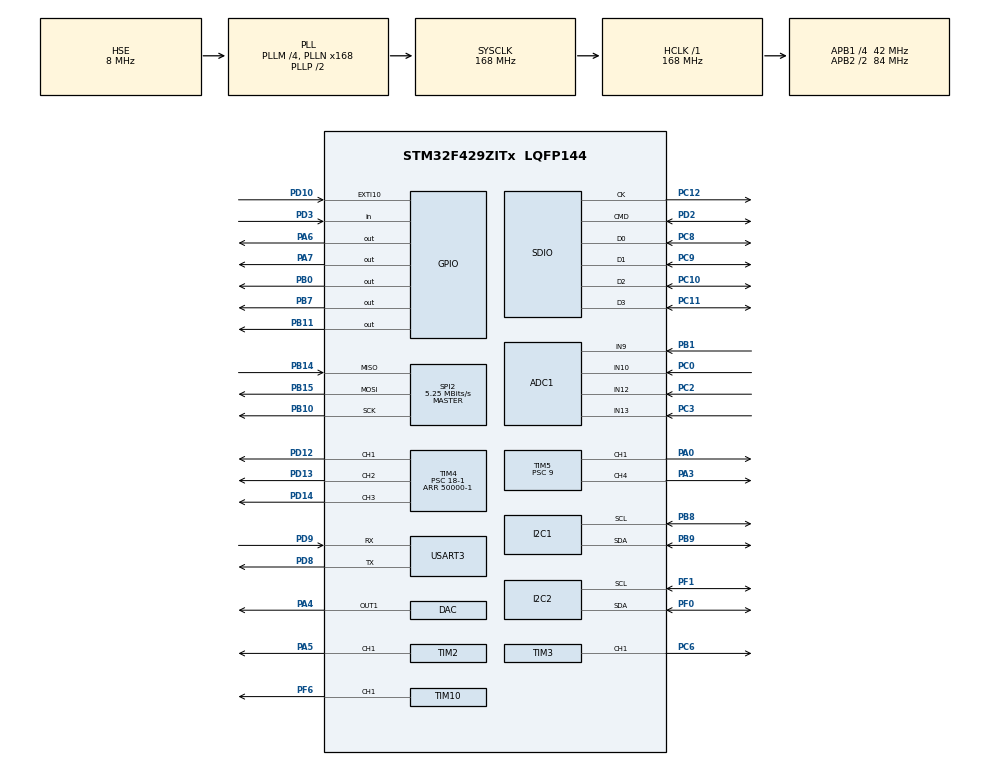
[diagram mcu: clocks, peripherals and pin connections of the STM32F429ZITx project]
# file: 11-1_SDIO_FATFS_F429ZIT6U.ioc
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ADC1.Channel-0\#ChannelRegularConversion=ADC_CHANNEL_10
ADC1.Channel-1\#ChannelRegularConversion=ADC_CHANNEL_12
ADC1.Channel-2\#ChannelRegularConversion=ADC_CHANNEL_13
ADC1.Channel-3\#ChannelRegularConversion=ADC_CHANNEL_9
ADC1.ContinuousConvMode=ENABLE
ADC1.DMAContinuousRequests=ENABLE
ADC1.DataAlign=ADC_DATAALIGN_RIGHT
ADC1.EOCSelection=ADC_EOC_SINGLE_CONV
ADC1.EnableAnalogWatchDog=false
ADC1.InjNumberOfConversion=0
ADC1.NbrOfConversion=4
ADC1.NbrOfConversionFlag=1
ADC1.Rank-0\#ChannelRegularConversion=1
ADC1.Rank-1\#ChannelRegularConversion=2
ADC1.Rank-2\#ChannelRegularConversion=3
ADC1.Rank-3\#ChannelRegularConversion=4
ADC1.SamplingTime-0\#ChannelRegularConversion=ADC_SAMPLETIME_84CYCLES
ADC1.SamplingTime-1\#ChannelRegularConversion=ADC_SAMPLETIME_84CYCLES
ADC1.SamplingTime-2\#ChannelRegularConversion=ADC_SAMPLETIME_84CYCLES
ADC1.SamplingTime-3\#ChannelRegularConversion=ADC_SAMPLETIME_84CYCLES
ADC1.ScanConvMode=ENABLE
ADC1.master=1
Dma.ADC1.0.Direction=DMA_PERIPH_TO_MEMORY
Dma.ADC1.0.FIFOMode=DMA_FIFOMODE_DISABLE
Dma.ADC1.0.Instance=DMA2_Stream0
Dma.ADC1.0.MemDataAlignment=DMA_MDATAALIGN_HALFWORD
Dma.ADC1.0.MemInc=DMA_MINC_ENABLE
Dma.ADC1.0.Mode=DMA_CIRCULAR
Dma.ADC1.0.PeriphDataAlignment=DMA_PDATAALIGN_HALFWORD
Dma.ADC1.0.PeriphInc=DMA_PINC_DISABLE
Dma.ADC1.0.Priority=DMA_PRIORITY_LOW
Dma.Request0=ADC1
Dma.Request1=SDIO_TX
Dma.Request2=SDIO_RX
Dma.SDIO_RX.2.Direction=DMA_PERIPH_TO_MEMORY
Dma.SDIO_RX.2.FIFOMode=DMA_FIFOMODE_ENABLE
Dma.SDIO_RX.2.FIFOThreshold=DMA_FIFO_THRESHOLD_FULL
Dma.SDIO_RX.2.Instance=DMA2_Stream6
Dma.SDIO_RX.2.MemBurst=DMA_MBURST_INC4
Dma.SDIO_RX.2.MemDataAlignment=DMA_MDATAALIGN_WORD
Dma.SDIO_RX.2.MemInc=DMA_MINC_ENABLE
Dma.SDIO_RX.2.Mode=DMA_PFCTRL
Dma.SDIO_RX.2.PeriphBurst=DMA_PBURST_INC4
Dma.SDIO_RX.2.PeriphDataAlignment=DMA_PDATAALIGN_WORD
Dma.SDIO_RX.2.PeriphInc=DMA_PINC_DISABLE
Dma.SDIO_RX.2.Priority=DMA_PRIORITY_LOW
Dma.SDIO_TX.1.Direction=DMA_MEMORY_TO_PERIPH
Dma.SDIO_TX.1.FIFOMode=DMA_FIFOMODE_ENABLE
Dma.SDIO_TX.1.FIFOThreshold=DMA_FIFO_THRESHOLD_FULL
Dma.SDIO_TX.1.Instance=DMA2_Stream3
Dma.SDIO_TX.1.MemBurst=DMA_MBURST_INC4
Dma.SDIO_TX.1.MemDataAlignment=DMA_MDATAALIGN_WORD
Dma.SDIO_TX.1.MemInc=DMA_MINC_ENABLE
Dma.SDIO_TX.1.Mode=DMA_PFCTRL
Dma.SDIO_TX.1.PeriphBurst=DMA_PBURST_INC4
Dma.SDIO_TX.1.PeriphDataAlignment=DMA_PDATAALIGN_WORD
Dma.SDIO_TX.1.PeriphInc=DMA_PINC_DISABLE
Dma.SDIO_TX.1.Priority=DMA_PRIORITY_LOW
FATFS.BSP.number=1
FATFS.USE_DMA_CODE_SD=1
FATFS._USE_LFN=1
FATFS0.BSP.STBoard=false
FATFS0.BSP.api=Unknown
FATFS0.BSP.i2caddr=0
FATFS0.BSP.instance=PD3
FATFS0.BSP.ip=GPIO
FATFS0.BSP.mode=Input
FATFS0.BSP.name=Detect_SDIO
FATFS0.BSP.solution=PD3
I2C1.I2C_Mode=I2C_Fast
Mcu.Family=STM32F4
Mcu.Name=STM32F429ZITx
Mcu.Package=LQFP144
NVIC.DMA2_Stream0_IRQn=true\:0\:0\:false\:false\:true\:false\:true
NVIC.DMA2_Stream3_IRQn=true\:0\:0\:false\:false\:true\:false\:true
NVIC.DMA2_Stream6_IRQn=true\:0\:0\:false\:false\:true\:false\:true
NVIC.EXTI15_10_IRQn=true\:0\:0\:false\:false\:true\:true\:true
NVIC.PriorityGroup=NVIC_PRIORITYGROUP_4
NVIC.SDIO_IRQn=true\:0\:0\:false\:false\:true\:true\:true
NVIC.TIM4_IRQn=true\:0\:0\:false\:false\:true\:true\:true
NVIC.TIM7_IRQn=true\:0\:0\:false\:false\:true\:true\:true
NVIC.USART3_IRQn=true\:0\:0\:false\:false\:true\:true\:true
PA0/WKUP.Signal=S_TIM5_CH1
PA3.Signal=S_TIM5_CH4
PA4.Signal=COMP_DAC1_group
PA5.Signal=S_TIM2_CH1_ETR
PA6.Signal=GPIO_Output
PA7.Signal=GPIO_Output
PB0.Signal=GPIO_Output
PB1.Signal=ADCx_IN9
PB10.Mode=Full_Duplex_Master
PB10.Signal=SPI2_SCK
PB11.Signal=GPIO_Output
PB14.Mode=Full_Duplex_Master
PB14.Signal=SPI2_MISO
PB15.Mode=Full_Duplex_Master
PB15.Signal=SPI2_MOSI
PB7.Signal=GPIO_Output
PB8.Mode=I2C
PB8.Signal=I2C1_SCL
PB9.Mode=I2C
PB9.Signal=I2C1_SDA
PC0.Signal=ADCx_IN10
PC10.Mode=SD_4_bits_Wide_bus
PC10.Signal=SDIO_D2
PC11.Mode=SD_4_bits_Wide_bus
PC11.Signal=SDIO_D3
PC12.Mode=SD_4_bits_Wide_bus
PC12.Signal=SDIO_CK
PC2.Signal=ADCx_IN12
PC3.Signal=ADCx_IN13
PC6.Signal=S_TIM3_CH1
PC8.Mode=SD_4_bits_Wide_bus
PC8.Signal=SDIO_D0
PC9.Mode=SD_4_bits_Wide_bus
PC9.Signal=SDIO_D1
PD10.GPIO_PuPd=GPIO_PULLDOWN
PD10.Signal=GPXTI10
PD12.Signal=S_TIM4_CH1
PD13.Signal=S_TIM4_CH2
PD14.Signal=S_TIM4_CH3
PD2.Mode=SD_4_bits_Wide_bus
PD2.Signal=SDIO_CMD
PD3.Signal=GPIO_Input
PD8.Mode=Asynchronous
PD8.Signal=USART3_TX
PD9.Mode=Asynchronous
PD9.Signal=USART3_RX
PF0.Mode=I2C
PF0.Signal=I2C2_SDA
PF1.Mode=I2C
PF1.Signal=I2C2_SCL
PF6.Signal=S_TIM10_CH1
PH0/OSC_IN.Mode=HSE-External-Oscillator
PH0/OSC_IN.Signal=RCC_OSC_IN
PH1/OSC_OUT.Mode=HSE-External-Oscillator
PH1/OSC_OUT.Signal=RCC_OSC_OUT
ProjectManager.HeapSize=0x200
ProjectManager.StackSize=0x400
ProjectManager.TargetToolchain=STM32CubeIDE
RCC.48MHZClocksFreq_Value=48000000
RCC.AHBFreq_Value=168000000
RCC.APB1CLKDivider=RCC_HCLK_DIV4
RCC.APB1Freq_Value=42000000
RCC.APB1TimFreq_Value=84000000
RCC.APB2CLKDivider=RCC_HCLK_DIV2
RCC.APB2Freq_Value=84000000
RCC.APB2TimFreq_Value=168000000
RCC.CortexFreq_Value=168000000
RCC.HCLKFreq_Value=168000000
RCC.HSE_VALUE=8000000
RCC.HSI_VALUE=16000000
RCC.LSE_VALUE=32768
RCC.PLLM=4
RCC.PLLN=168
RCC.PLLQ=7
RCC.PLLSourceVirtual=RCC_PLLSOURCE_HSE
RCC.SYSCLKFreq_VALUE=168000000
RCC.SYSCLKSource=RCC_SYSCLKSOURCE_PLLCLK
RCC.VCOOutputFreq_Value=336000000
SH.ADCx_IN10.0=ADC1_IN10,IN10
SH.ADCx_IN12.0=ADC1_IN12,IN12
SH.ADCx_IN13.0=ADC1_IN13,IN13
SH.ADCx_IN9.0=ADC1_IN9,IN9
SH.COMP_DAC1_group.0=DAC_OUT1,DAC_OUT1
SH.S_TIM10_CH1.0=TIM10_CH1,PWM Generation1 CH1
SH.S_TIM2_CH1_ETR.0=TIM2_CH1,PWM Generation1 CH1
SH.S_TIM3_CH1.0=TIM3_CH1,PWM Generation1 CH1
SH.S_TIM4_CH1.0=TIM4_CH1,PWM Generation1 CH1
SH.S_TIM4_CH2.0=TIM4_CH2,PWM Generation2 CH2
SH.S_TIM4_CH3.0=TIM4_CH3,PWM Generation3 CH3
SH.S_TIM5_CH1.0=TIM5_CH1,PWM Generation1 CH1
SH.S_TIM5_CH4.0=TIM5_CH4,PWM Generation4 CH4
SPI2.BaudRatePrescaler=SPI_BAUDRATEPRESCALER_8
SPI2.CLKPhase=SPI_PHASE_2EDGE
SPI2.CLKPolarity=SPI_POLARITY_HIGH
SPI2.CalculateBaudRate=5.25 MBits/s
SPI2.Direction=SPI_DIRECTION_2LINES
SPI2.Mode=SPI_MODE_MASTER
SPI2.VirtualType=VM_MASTER
TIM10.Channel=TIM_CHANNEL_1
TIM10.Period=50000-1
TIM10.Prescaler=72-1
TIM10.Pulse=500
TIM2.Channel-PWM\ Generation1\ CH1=TIM_CHANNEL_1
TIM2.Period=1000-1
TIM2.Prescaler=180-1
TIM2.Pulse-PWM\ Generation1\ CH1=500
TIM3.Channel-PWM\ Generation1\ CH1=TIM_CHANNEL_1
TIM3.Period=50000-1
TIM3.Prescaler=9-1
TIM4.Channel-PWM\ Generation1\ CH1=TIM_CHANNEL_1
TIM4.Channel-PWM\ Generation2\ CH2=TIM_CHANNEL_2
TIM4.Channel-PWM\ Generation3\ CH3=TIM_CHANNEL_3
TIM4.Period=50000-1
TIM4.Prescaler=18-1
TIM4.Pulse-PWM\ Generation1\ CH1=25000-1
TIM4.Pulse-PWM\ Generation2\ CH2=12500-1
TIM4.Pulse-PWM\ Generation3\ CH3=7250-1
TIM5.Channel-PWM\ Generation1\ CH1=TIM_CHANNEL_1
TIM5.Channel-PWM\ Generation4\ CH4=TIM_CHANNEL_4
TIM5.Period=100000-1
TIM5.Prescaler=9
TIM7.AutoReloadPreload=TIM_AUTORELOAD_PRELOAD_ENABLE
TIM7.Period=9999
TIM7.Prescaler=8
USART3.VirtualMode=VM_ASYNC
VP_FATFS_VS_SDIO.Mode=SDIO
VP_TIM10_VS_ClockSourceINT.Mode=Enable_Timer
VP_TIM2_VS_ClockSourceINT.Mode=Internal
VP_TIM3_VS_ClockSourceINT.Mode=Internal
VP_TIM4_VS_ClockSourceINT.Mode=Internal
VP_TIM5_VS_ClockSourceINT.Mode=Internal
VP_TIM7_VS_ClockSourceINT.Mode=Enable_Timer
board=custom

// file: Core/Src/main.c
/* USER CODE BEGIN Header */
/**
  ******************************************************************************
  * @file           : main.c
  * @brief          : Main program body
  ******************************************************************************
  * @attention
  *
  * Copyright (c) 2022 STMicroelectronics.
  * All rights reserved.
  *
  * This software is licensed under terms that can be found in the LICENSE file
  * in the root directory of this software component.
  * If no LICENSE file comes with this software, it is provided AS-IS.
  *
  ******************************************************************************
  */
/* USER CODE END Header */
#include "main.h"
#include "adc.h"
#include "dac.h"
#include "dma.h"
#include "fatfs.h"
#include "i2c.h"
#include "sdio.h"
#include "spi.h"
#include "tim.h"
#include "usart.h"
#include "gpio.h"

/* USER CODE BEGIN Includes */
#include <stdio.h>
/* USER CODE END Includes */

void SystemClock_Config(void);
/* USER CODE BEGIN PFP */
int _write(int file, char* p, int len)
{
	if(HAL_UART_Transmit(&huart3, (uint8_t *)p, len, 10) == HAL_OK) return len;
	else return 0;
}
/* USER CODE END PFP */

int main(void)
{

  /* MCU Configuration--------------------------------------------------------*/

  /* Reset of all peripherals, Initializes the Flash interface and the Systick. */
  HAL_Init();

  /* Configure the system clock */
  SystemClock_Config();

  /* Initialize all configured peripherals */
  MX_GPIO_Init();
  MX_USART3_UART_Init();
  MX_I2C1_Init();
  MX_TIM7_Init();
  MX_TIM3_Init();
  MX_TIM4_Init();
  MX_TIM10_Init();
  MX_TIM2_Init();
  MX_DMA_Init();
  MX_ADC1_Init();
  MX_TIM5_Init();
  MX_DAC_Init();
  MX_I2C2_Init();
  MX_SPI2_Init();
  MX_SDIO_SD_Init();
  MX_FATFS_Init();

  /* Infinite loop */
  /* USER CODE BEGIN WHILE */
  uint8_t str[20];
  BYTE buf[32] = "Hello World";
  uint32_t bw, br;
  /* FS�??�� 초기?�� */
  if((retSD = f_mount(&SDFatFS, &SDPath[0], 1)) == FR_OK)
  {
	sprintf((char*)str, "f_mount OK %d", retSD);
	printf("%s\r\n", str);
  }
  else
  {
    sprintf((char*)str, "f_mount failed %d", retSD);
	printf("%s\r\n", str);
  }

  /* file create and write */
  if((retSD = f_open(&SDFile, "0:/test.txt", FA_CREATE_NEW | FA_WRITE))== FR_OK)
  {
	  sprintf((char*)buf, "Hi, there");
	  f_write(&SDFile, buf, sizeof(buf), &bw);

	  sprintf((char*)str, "%d bytes Write", bw);
	  printf("%s\r\n", str);

	  f_close(&SDFile);
  }
  else
  {
	  sprintf((char*)str, "error %d !! Can't write", retSD);
	  printf("%s\r\n", str);

  }

  if((retSD = f_open(&SDFile, "0:/test.txt", FA_OPEN_EXISTING | FA_READ))== FR_OK)
   {
 	  f_read(&SDFile, buf, sizeof(buf), &br);
 	  sprintf((char*)str, "%s", buf);
 	  printf("%s\r\n", str);

 	  sprintf((char*)str, "%d bytes Read", br);
 	  printf("%s\r\n", str);

 	  f_close(&SDFile);
   }
   else
   {
 	  sprintf((char*)str, "error %d !! Can't read", retSD);
 	  printf("%s\r\n", str);
   }

  while (1)
  {
    /* USER CODE END WHILE */

  }
}

void SystemClock_Config(void)
{
  RCC_OscInitTypeDef RCC_OscInitStruct = {0};
  RCC_ClkInitTypeDef RCC_ClkInitStruct = {0};

  /** Configure the main internal regulator output voltage
  */
  __HAL_RCC_PWR_CLK_ENABLE();
  __HAL_PWR_VOLTAGESCALING_CONFIG(PWR_REGULATOR_VOLTAGE_SCALE1);
  /** Initializes the RCC Oscillators according to the specified parameters
  * in the RCC_OscInitTypeDef structure.
  */
  RCC_OscInitStruct.OscillatorType = RCC_OSCILLATORTYPE_HSE;
  RCC_OscInitStruct.HSEState = RCC_HSE_ON;
  RCC_OscInitStruct.PLL.PLLState = RCC_PLL_ON;
  RCC_OscInitStruct.PLL.PLLSource = RCC_PLLSOURCE_HSE;
  RCC_OscInitStruct.PLL.PLLM = 4;
  RCC_OscInitStruct.PLL.PLLN = 168;
  RCC_OscInitStruct.PLL.PLLP = RCC_PLLP_DIV2;
  RCC_OscInitStruct.PLL.PLLQ = 7;
  if (HAL_RCC_OscConfig(&RCC_OscInitStruct) != HAL_OK)
  {
    Error_Handler();
  }
  /** Initializes the CPU, AHB and APB buses clocks
  */
  RCC_ClkInitStruct.ClockType = RCC_CLOCKTYPE_HCLK|RCC_CLOCKTYPE_SYSCLK
                              |RCC_CLOCKTYPE_PCLK1|RCC_CLOCKTYPE_PCLK2;
  RCC_ClkInitStruct.SYSCLKSource = RCC_SYSCLKSOURCE_PLLCLK;
  RCC_ClkInitStruct.AHBCLKDivider = RCC_SYSCLK_DIV1;
  RCC_ClkInitStruct.APB1CLKDivider = RCC_HCLK_DIV4;
  RCC_ClkInitStruct.APB2CLKDivider = RCC_HCLK_DIV2;

  if (HAL_RCC_ClockConfig(&RCC_ClkInitStruct, FLASH_LATENCY_5) != HAL_OK)
  {
    Error_Handler();
  }
}

void Error_Handler(void)
{
  __disable_irq();
  while (1)
  {
  }
}
